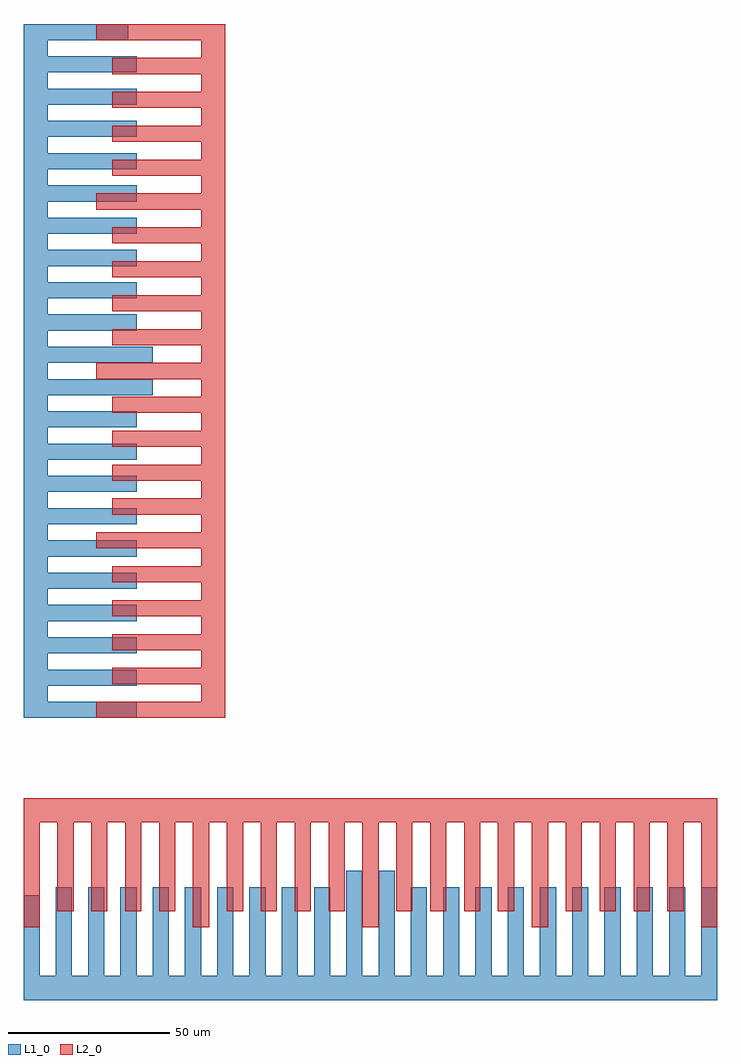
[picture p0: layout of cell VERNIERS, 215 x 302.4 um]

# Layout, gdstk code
import gdstk
lib = gdstk.Library(unit=1e-6, precision=1e-09)
def R(c, l, rs):  # rectangles x0, y0, x1, y1
    for r in rs: c.add(gdstk.rectangle(r[:2], r[2:], *l))
def A(c, l, x, y, w, h, nx, ny, dx, dy):  # array of equal rectangles
    R(c, l, [(x+i*dx, y+j*dy, x+i*dx+w, y+j*dy+h) for i in range(nx) for j in range(ny)])
L1_0 = (1, 0)
L2_0 = (2, 0)

verniers = lib.new_cell('VERNIERS')
A(verniers, L1_0, 7.593, -8.518, 5, 35, 9, 1, 10, 0)
A(verniers, L1_0, 117.593, -8.518, 5, 35, 9, 1, 10, 0)
A(verniers, L1_0, -2.407, 88.882, 35, 5, 1, 9, 0, 10)
A(verniers, L1_0, -2.407, 198.882, 35, 5, 1, 9, 0, 10)
R(verniers, L1_0, [(-2.407,-8.518,2.593,23.982), (-2.407,-8.518,212.593,-1.018), (97.593,-8.518,102.593,31.482), (107.593,-8.518,112.593,31.482), (207.593,-6.018,212.593,26.482), (-2.407,78.882,5.093,293.882), (0.093,78.882,32.593,83.882), (-2.407,178.882,37.593,183.882), (-2.407,188.882,37.593,193.882), (-2.407,288.882,30.093,293.882)])
A(verniers, L2_0, -2.407, 13.982, 5, 40, 5, 1, 52.5, 0)
A(verniers, L2_0, 8.093, 18.982, 5, 35, 4, 1, 10.5, 0)
A(verniers, L2_0, 60.593, 18.982, 5, 35, 4, 1, 10.5, 0)
A(verniers, L2_0, 113.093, 18.982, 5, 35, 4, 1, 10.5, 0)
A(verniers, L2_0, 165.593, 18.982, 5, 35, 4, 1, 10.5, 0)
A(verniers, L2_0, 20.093, 78.882, 40, 5, 1, 5, 0, 52.5)
A(verniers, L2_0, 25.093, 89.382, 35, 5, 1, 4, 0, 10.5)
A(verniers, L2_0, 25.093, 141.882, 35, 5, 1, 4, 0, 10.5)
A(verniers, L2_0, 25.093, 194.382, 35, 5, 1, 4, 0, 10.5)
A(verniers, L2_0, 25.093, 246.882, 35, 5, 1, 4, 0, 10.5)
R(verniers, L2_0, [(-2.407,46.482,212.593,53.982), (52.593,78.882,60.093,293.882)])

lib.write_gds('VERNIERS.gds')
